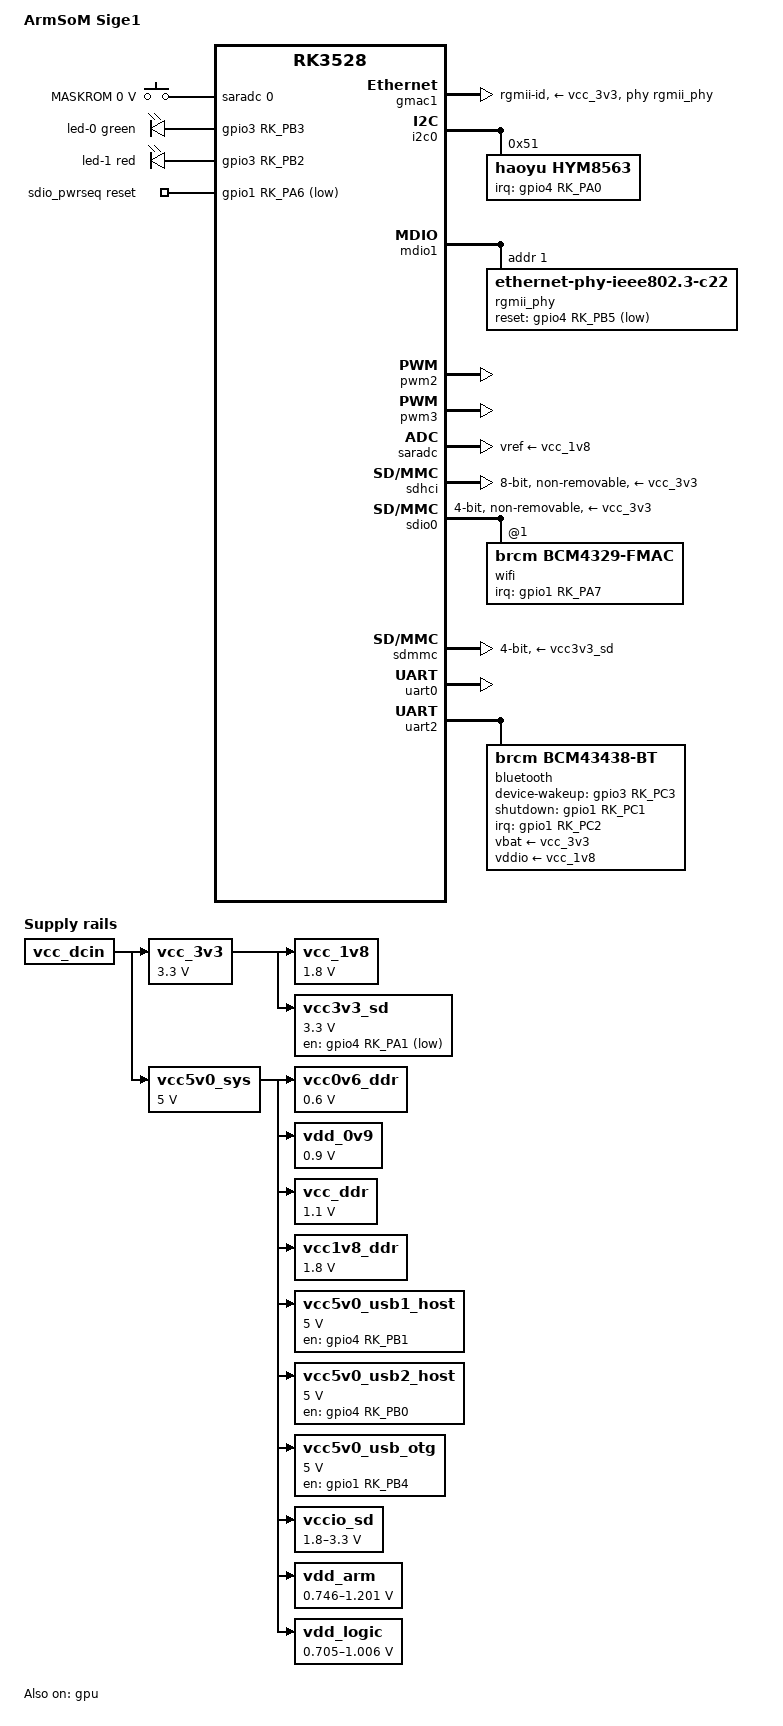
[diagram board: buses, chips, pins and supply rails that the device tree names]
// SPDX-License-Identifier: (GPL-2.0+ OR MIT)

/dts-v1/;

#include <dt-bindings/input/input.h>
#include <dt-bindings/leds/common.h>
#include <dt-bindings/pwm/pwm.h>
#include "rk3528.dtsi"

/ {
	model = "ArmSoM Sige1";
	compatible = "armsom,sige1", "rockchip,rk3528";

	aliases {
		ethernet0 = &gmac1;
		i2c0 = &i2c0;
		mmc0 = &sdhci;
		mmc1 = &sdmmc;
		mmc2 = &sdio0;
		serial0 = &uart0;
		serial2 = &uart2;
	};

	chosen {
		stdout-path = "serial0:1500000n8";
	};

	adc-keys {
		compatible = "adc-keys";
		io-channels = <&saradc 0>;
		io-channel-names = "buttons";
		keyup-threshold-microvolt = <1800000>;
		poll-interval = <100>;

		button-maskrom {
			label = "MASKROM";
			linux,code = <KEY_SETUP>;
			press-threshold-microvolt = <0>;
		};
	};

	leds {
		compatible = "gpio-leds";
		pinctrl-names = "default";
		pinctrl-0 = <&g_led>, <&r_led>;

		led-0 {
			color = <LED_COLOR_ID_GREEN>;
			default-state = "on";
			function = LED_FUNCTION_HEARTBEAT;
			gpios = <&gpio3 RK_PB3 GPIO_ACTIVE_HIGH>;
			linux,default-trigger = "heartbeat";
		};

		led-1 {
			color = <LED_COLOR_ID_RED>;
			default-state = "on";
			function = LED_FUNCTION_STATUS;
			gpios = <&gpio3 RK_PB2 GPIO_ACTIVE_HIGH>;
			linux,default-trigger = "default-on";
		};
	};

	vcc0v6_ddr: regulator-0v6-vcc-ddr {
		compatible = "regulator-fixed";
		regulator-name = "vcc0v6_ddr";
		regulator-always-on;
		regulator-boot-on;
		regulator-min-microvolt = <600000>;
		regulator-max-microvolt = <600000>;
		vin-supply = <&vcc5v0_sys>;
	};

	vdd_0v9: regulator-0v9-vdd {
		compatible = "regulator-fixed";
		regulator-name = "vdd_0v9";
		regulator-always-on;
		regulator-boot-on;
		regulator-min-microvolt = <900000>;
		regulator-max-microvolt = <900000>;
		vin-supply = <&vcc5v0_sys>;
	};

	vcc_ddr: regulator-1v1-vcc-ddr {
		compatible = "regulator-fixed";
		regulator-name = "vcc_ddr";
		regulator-always-on;
		regulator-boot-on;
		regulator-min-microvolt = <1100000>;
		regulator-max-microvolt = <1100000>;
		vin-supply = <&vcc5v0_sys>;
	};

	vcc_1v8: regulator-1v8-vcc {
		compatible = "regulator-fixed";
		regulator-name = "vcc_1v8";
		regulator-always-on;
		regulator-boot-on;
		regulator-min-microvolt = <1800000>;
		regulator-max-microvolt = <1800000>;
		vin-supply = <&vcc_3v3>;
	};

	vcc1v8_ddr: regulator-1v8-vcc-ddr {
		compatible = "regulator-fixed";
		regulator-name = "vcc1v8_ddr";
		regulator-always-on;
		regulator-boot-on;
		regulator-min-microvolt = <1800000>;
		regulator-max-microvolt = <1800000>;
		vin-supply = <&vcc5v0_sys>;
	};

	vcc_3v3: regulator-3v3-vcc {
		compatible = "regulator-fixed";
		regulator-name = "vcc_3v3";
		regulator-always-on;
		regulator-boot-on;
		regulator-min-microvolt = <3300000>;
		regulator-max-microvolt = <3300000>;
		vin-supply = <&vcc_dcin>;
	};

	vcc3v3_sd: regulator-3v3-vcc-sd {
		compatible = "regulator-fixed";
		gpios = <&gpio4 RK_PA1 GPIO_ACTIVE_LOW>;
		pinctrl-names = "default";
		pinctrl-0 = <&sdmmc_pwren_l>;
		regulator-name = "vcc3v3_sd";
		regulator-min-microvolt = <3300000>;
		regulator-max-microvolt = <3300000>;
		vin-supply = <&vcc_3v3>;
	};

	vcc5v0_sys: regulator-5v0-vcc-sys {
		compatible = "regulator-fixed";
		regulator-name = "vcc5v0_sys";
		regulator-always-on;
		regulator-boot-on;
		regulator-min-microvolt = <5000000>;
		regulator-max-microvolt = <5000000>;
		vin-supply = <&vcc_dcin>;
	};

	vcc5v0_usb1_host: regulator-5v0-vcc-usb1-host {
		compatible = "regulator-fixed";
		enable-active-high;
		gpios = <&gpio4 RK_PB1 GPIO_ACTIVE_HIGH>;
		pinctrl-names = "default";
		pinctrl-0 = <&usb20_host1_drv_h>;
		regulator-name = "vcc5v0_usb1_host";
		regulator-always-on;
		regulator-min-microvolt = <5000000>;
		regulator-max-microvolt = <5000000>;
		vin-supply = <&vcc5v0_sys>;
	};

	vcc5v0_usb2_host: regulator-5v0-vcc-usb2-host {
		compatible = "regulator-fixed";
		enable-active-high;
		gpios = <&gpio4 RK_PB0 GPIO_ACTIVE_HIGH>;
		pinctrl-names = "default";
		pinctrl-0 = <&usb20_host2_drv_h>;
		regulator-name = "vcc5v0_usb2_host";
		regulator-always-on;
		regulator-min-microvolt = <5000000>;
		regulator-max-microvolt = <5000000>;
		vin-supply = <&vcc5v0_sys>;
	};

	vcc5v0_usb_otg: regulator-5v0-vcc-usb-otg {
		compatible = "regulator-fixed";
		enable-active-high;
		gpios = <&gpio1 RK_PB4 GPIO_ACTIVE_HIGH>;
		pinctrl-names = "default";
		pinctrl-0 = <&usb20_otg0_drv_h>;
		regulator-name = "vcc5v0_usb_otg";
		regulator-min-microvolt = <5000000>;
		regulator-max-microvolt = <5000000>;
		vin-supply = <&vcc5v0_sys>;
	};

	vcc_dcin: regulator-vcc-dcin {
		compatible = "regulator-fixed";
		regulator-name = "vcc_dcin";
		regulator-always-on;
		regulator-boot-on;
	};

	vccio_sd: regulator-vccio-sd {
		compatible = "regulator-gpio";
		gpios = <&gpio4 RK_PC2 GPIO_ACTIVE_LOW>;
		pinctrl-names = "default";
		pinctrl-0 = <&sdmmc_vol_ctrl_h>;
		regulator-name = "vccio_sd";
		regulator-min-microvolt = <1800000>;
		regulator-max-microvolt = <3300000>;
		states = <1800000 0x0>, <3300000 0x1>;
		vin-supply = <&vcc5v0_sys>;
	};

	vdd_arm: regulator-vdd-arm {
		compatible = "pwm-regulator";
		pwms = <&pwm3 0 5000 PWM_POLARITY_INVERTED>;
		pwm-supply = <&vcc5v0_sys>;
		regulator-name = "vdd_arm";
		regulator-always-on;
		regulator-boot-on;
		regulator-min-microvolt = <746000>;
		regulator-max-microvolt = <1201000>;
		regulator-settling-time-up-us = <250>;
	};

	vdd_logic: regulator-vdd-logic {
		compatible = "pwm-regulator";
		pwms = <&pwm2 0 5000 PWM_POLARITY_INVERTED>;
		pwm-supply = <&vcc5v0_sys>;
		regulator-name = "vdd_logic";
		regulator-always-on;
		regulator-boot-on;
		regulator-min-microvolt = <705000>;
		regulator-max-microvolt = <1006000>;
		regulator-settling-time-up-us = <250>;
	};

	sdio_pwrseq: sdio-pwrseq {
		compatible = "mmc-pwrseq-simple";
		pinctrl-names = "default";
		pinctrl-0 = <&wifi_reg_on_h>, <&clkm1_32k_out>;
		post-power-on-delay-ms = <200>;
		reset-gpios = <&gpio1 RK_PA6 GPIO_ACTIVE_LOW>;
	};
};

&cpu0 {
	cpu-supply = <&vdd_arm>;
};

&cpu1 {
	cpu-supply = <&vdd_arm>;
};

&cpu2 {
	cpu-supply = <&vdd_arm>;
};

&cpu3 {
	cpu-supply = <&vdd_arm>;
};

&gmac1 {
	clock_in_out = "output";
	phy-handle = <&rgmii_phy>;
	phy-mode = "rgmii-id";
	phy-supply = <&vcc_3v3>;
	pinctrl-names = "default";
	pinctrl-0 = <&rgmii_miim>, <&rgmii_tx_bus2>, <&rgmii_rx_bus2>,
		    <&rgmii_rgmii_clk>, <&rgmii_rgmii_bus>;
	status = "okay";
};

&gpu {
	mali-supply = <&vdd_logic>;
	status = "okay";
};

&i2c0 {
	pinctrl-names = "default";
	pinctrl-0 = <&i2c0m0_xfer>;
	status = "okay";

	hym8563: rtc@51 {
		compatible = "haoyu,hym8563";
		reg = <0x51>;
		#clock-cells = <0>;
		interrupt-parent = <&gpio4>;
		interrupts = <RK_PA0 IRQ_TYPE_LEVEL_LOW>;
		pinctrl-names = "default";
		pinctrl-0 = <&rtc_int_l>;
		wakeup-source;
	};
};

&mdio1 {
	rgmii_phy: ethernet-phy@1 {
		compatible = "ethernet-phy-ieee802.3-c22";
		reg = <0x1>;
		pinctrl-names = "default";
		pinctrl-0 = <&gmac1_rstn_l>;
		reset-assert-us = <20000>;
		reset-deassert-us = <100000>;
		reset-gpios = <&gpio4 RK_PB5 GPIO_ACTIVE_LOW>;
	};
};

&pinctrl {
	bluetooth {
		bt_reg_on_h: bt-reg-on-h {
			rockchip,pins = <1 RK_PC1 RK_FUNC_GPIO &pcfg_pull_none>;
		};

		bt_wake_host_h: bt-wake-host-h {
			rockchip,pins = <1 RK_PC2 RK_FUNC_GPIO &pcfg_pull_down>;
		};

		host_wake_bt_h: host-wake-bt-h {
			rockchip,pins = <3 RK_PC3 RK_FUNC_GPIO &pcfg_pull_none>;
		};
	};

	ethernet {
		gmac1_rstn_l: gmac1-rstn-l {
			rockchip,pins = <4 RK_PB5 RK_FUNC_GPIO &pcfg_pull_none>;
		};
	};

	leds {
		g_led: g-led {
			rockchip,pins = <3 RK_PB3 RK_FUNC_GPIO &pcfg_pull_none>;
		};

		r_led: r-led {
			rockchip,pins = <3 RK_PB2 RK_FUNC_GPIO &pcfg_pull_none>;
		};
	};

	rtc {
		rtc_int_l: rtc-int-l {
			rockchip,pins = <4 RK_PA0 RK_FUNC_GPIO &pcfg_pull_up>;
		};
	};

	sdmmc {
		sdmmc_vol_ctrl_h: sdmmc-vol-ctrl-h {
			rockchip,pins = <4 RK_PC2 RK_FUNC_GPIO &pcfg_pull_none>;
		};

		sdmmc_pwren_l: sdmmc-pwren-l {
			rockchip,pins = <4 RK_PA1 RK_FUNC_GPIO &pcfg_pull_none>;
		};
	};

	usb {
		usb20_host1_drv_h: usb20-host1-drv-h {
			rockchip,pins = <4 RK_PB1 RK_FUNC_GPIO &pcfg_pull_none>;
		};

		usb20_host2_drv_h: usb20-host2-drv-h {
			rockchip,pins = <4 RK_PB0 RK_FUNC_GPIO &pcfg_pull_none>;
		};

		usb20_otg0_drv_h: usb20-otg0-drv-h {
			rockchip,pins = <1 RK_PB4 RK_FUNC_GPIO &pcfg_pull_none>;
		};
	};

	wifi {
		wifi_reg_on_h: wifi-reg-on-h {
			rockchip,pins = <1 RK_PA6 RK_FUNC_GPIO &pcfg_pull_none>;
		};

		wifi_wake_host_h: wifi-wake-host-h {
			rockchip,pins = <1 RK_PA7 RK_FUNC_GPIO &pcfg_pull_down>;
		};
	};
};

&pwm2 {
	pinctrl-names = "default";
	pinctrl-0 = <&pwm2m0_pins>;
	status = "okay";
};

&pwm3 {
	pinctrl-names = "default";
	pinctrl-0 = <&pwm3m0_pins>;
	status = "okay";
};

&saradc {
	vref-supply = <&vcc_1v8>;
	status = "okay";
};

&sdhci {
	bus-width = <8>;
	cap-mmc-highspeed;
	mmc-hs200-1_8v;
	no-sd;
	no-sdio;
	non-removable;
	vmmc-supply = <&vcc_3v3>;
	vqmmc-supply = <&vcc_1v8>;
	status = "okay";
};

&sdio0 {
	bus-width = <4>;
	cap-sd-highspeed;
	cap-sdio-irq;
	keep-power-in-suspend;
	mmc-pwrseq = <&sdio_pwrseq>;
	no-mmc;
	no-sd;
	non-removable;
	sd-uhs-sdr104;
	vmmc-supply = <&vcc_3v3>;
	vqmmc-supply = <&vcc_1v8>;
	#address-cells = <1>;
	#size-cells = <0>;
	status = "okay";

	wifi@1 {
		compatible = "brcm,bcm4329-fmac";
		reg = <1>;
		clocks = <&cru CLK_DEEPSLOW>;
		clock-names = "lpo";
		interrupt-parent = <&gpio1>;
		interrupts = <RK_PA7 IRQ_TYPE_LEVEL_HIGH>;
		interrupt-names = "host-wake";
		pinctrl-names = "default";
		pinctrl-0 = <&wifi_wake_host_h>;
	};
};

&sdmmc {
	bus-width = <4>;
	cap-mmc-highspeed;
	cap-sd-highspeed;
	disable-wp;
	sd-uhs-sdr104;
	vmmc-supply = <&vcc3v3_sd>;
	vqmmc-supply = <&vccio_sd>;
	status = "okay";
};

&uart0 {
	pinctrl-names = "default";
	pinctrl-0 = <&uart0m0_xfer>;
	status = "okay";
};

&uart2 {
	dma-names = "tx", "rx";
	pinctrl-names = "default";
	pinctrl-0 = <&uart2m1_xfer>, <&uart2m1_ctsn>, <&uart2m1_rtsn>;
	uart-has-rtscts;
	status = "okay";

	bluetooth {
		compatible = "brcm,bcm43438-bt";
		clocks = <&cru CLK_DEEPSLOW>;
		clock-names = "lpo";
		device-wakeup-gpios = <&gpio3 RK_PC3 GPIO_ACTIVE_HIGH>;
		interrupt-parent = <&gpio1>;
		interrupts = <RK_PC2 IRQ_TYPE_LEVEL_HIGH>;
		interrupt-names = "host-wakeup";
		pinctrl-names = "default";
		pinctrl-0 = <&bt_reg_on_h>, <&bt_wake_host_h>, <&host_wake_bt_h>;
		shutdown-gpios = <&gpio1 RK_PC1 GPIO_ACTIVE_HIGH>;
		vbat-supply = <&vcc_3v3>;
		vddio-supply = <&vcc_1v8>;
	};
};
